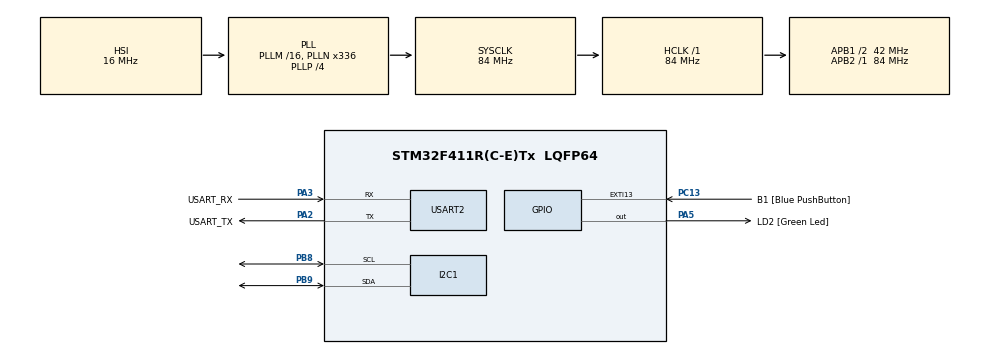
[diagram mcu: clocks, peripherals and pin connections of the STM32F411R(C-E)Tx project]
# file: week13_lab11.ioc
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I2C1.I2C_Mode=I2C_Fast
Mcu.Family=STM32F4
Mcu.Name=STM32F411R(C-E)Tx
Mcu.Package=LQFP64
NVIC.I2C1_ER_IRQn=true\:0\:0\:false\:false\:true\:true\:true
NVIC.I2C1_EV_IRQn=true\:0\:0\:false\:false\:true\:true\:true
NVIC.PriorityGroup=NVIC_PRIORITYGROUP_0
PA13.GPIO_Label=TMS
PA13.Mode=Serial_Wire
PA13.Signal=SYS_JTMS-SWDIO
PA14.GPIO_Label=TCK
PA14.Mode=Serial_Wire
PA14.Signal=SYS_JTCK-SWCLK
PA2.GPIO_Label=USART_TX
PA2.Mode=Asynchronous
PA2.Signal=USART2_TX
PA3.GPIO_Label=USART_RX
PA3.Mode=Asynchronous
PA3.Signal=USART2_RX
PA5.GPIO_Label=LD2 [Green Led]
PA5.Signal=GPIO_Output
PB3.GPIO_Label=SWO
PB3.Signal=SYS_JTDO-SWO
PB8.Mode=I2C
PB8.Signal=I2C1_SCL
PB9.Mode=I2C
PB9.Signal=I2C1_SDA
PC13-ANTI_TAMP.GPIO_Label=B1 [Blue PushButton]
PC13-ANTI_TAMP.GPIO_ModeDefaultEXTI=GPIO_MODE_IT_FALLING
PC13-ANTI_TAMP.Signal=GPXTI13
PC14-OSC32_IN.Mode=LSE-External-Oscillator
PC14-OSC32_IN.Signal=RCC_OSC32_IN
PC15-OSC32_OUT.Mode=LSE-External-Oscillator
PC15-OSC32_OUT.Signal=RCC_OSC32_OUT
PH0\ -\ OSC_IN.Mode=HSE-External-Clock-Source
PH0\ -\ OSC_IN.Signal=RCC_OSC_IN
PH1\ -\ OSC_OUT.Mode=HSE-External-Clock-Source
PH1\ -\ OSC_OUT.Signal=RCC_OSC_OUT
ProjectManager.HeapSize=0x200
ProjectManager.StackSize=0x400
ProjectManager.TargetToolchain=STM32CubeIDE
RCC.48MHZClocksFreq_Value=84000000
RCC.AHBFreq_Value=84000000
RCC.APB1CLKDivider=RCC_HCLK_DIV2
RCC.APB1Freq_Value=42000000
RCC.APB1TimFreq_Value=84000000
RCC.APB2Freq_Value=84000000
RCC.APB2TimFreq_Value=84000000
RCC.CortexFreq_Value=84000000
RCC.FLatency-AdvancedSettings=FLASH_LATENCY_2
RCC.HCLKFreq_Value=84000000
RCC.HSE_VALUE=8000000
RCC.HSI_VALUE=16000000
RCC.PLLN=336
RCC.PLLP=RCC_PLLP_DIV4
RCC.SYSCLKFreq_VALUE=84000000
RCC.SYSCLKSource=RCC_SYSCLKSOURCE_PLLCLK
RCC.VCOOutputFreq_Value=336000000
USART2.VirtualMode=VM_ASYNC
board=NUCLEO-F411RE

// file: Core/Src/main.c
/* USER CODE BEGIN Header */
/**
 ******************************************************************************
 * @file           : main.c
 * @brief          : Main program body
 ******************************************************************************
 * @attention
 *
 * <h2><center>&copy; Copyright (c) 2021 STMicroelectronics.
 * All rights reserved.</center></h2>
 *
 * This software component is licensed by ST under BSD 3-Clause license,
 * the "License"; You may not use this file except in compliance with the
 * License. You may obtain a copy of the License at:
 *                        opensource.org/licenses/BSD-3-Clause
 *
 ******************************************************************************
 */
/* USER CODE END Header */
#include "main.h"

/* USER CODE BEGIN PD */
#define EEPROM_ADDR 0b10100000
#define IOEXPD_ADDR 0b01000000
/* USER CODE END PD */

I2C_HandleTypeDef hi2c1;

UART_HandleTypeDef huart2;

/* USER CODE BEGIN PV */
uint8_t eepromExampleWriteFlag = 0;
uint8_t eepromExampleReadFlag = 0;
uint8_t IOExpdrExampleWriteFlag = 0;
uint8_t IOExpdrExampleReadFlag = 0;
uint8_t eepromDataReadBack[4];
uint8_t IOExpdrDataReadBack;
uint8_t IOExpdrDataWrite = 0b0;

uint8_t sclk[2] = {0};
uint8_t test =0;
uint8_t edata[4] = {0};
/* USER CODE END PV */

void SystemClock_Config(void);
static void MX_GPIO_Init(void);
static void MX_USART2_UART_Init(void);
static void MX_I2C1_Init(void);
/* USER CODE BEGIN PFP */
//void EEPROMWriteExample(uint8_t edata);
void EEPROMWriteExample();
void EEPROMReadExample(uint8_t *Rdata, uint16_t len);

void IOExpenderInit();
void IOExpenderReadPinA(uint8_t *Rdata);
void IOExpenderWritePinB(uint8_t Wdata);

/* USER CODE END PFP */

int main(void)
{

  /* MCU Configuration--------------------------------------------------------*/

  /* Reset of all peripherals, Initializes the Flash interface and the Systick. */
  HAL_Init();

  /* Configure the system clock */
  SystemClock_Config();

  /* Initialize all configured peripherals */
  MX_GPIO_Init();
  MX_USART2_UART_Init();
  MX_I2C1_Init();
  /* USER CODE BEGIN 2 */
  HAL_Delay(100);
  IOExpenderInit();
  /* USER CODE END 2 */

  /* Infinite loop */
  /* USER CODE BEGIN WHILE */
	while (1)
	{
		sclk[0] = HAL_GPIO_ReadPin(GPIOC, GPIO_PIN_13);
		if(sclk[0] == 0 && sclk[1] == 1)
		{
			IOExpdrExampleReadFlag = 1;
			eepromExampleWriteFlag = 1;
			eepromExampleReadFlag = 1;
			IOExpdrExampleWriteFlag = 1;

			//IOExpdrExampleReadFlag = 1;
			IOExpenderReadPinA(&IOExpdrDataReadBack);
			HAL_Delay(10);

			edata[0] = 0b001 & (IOExpdrDataReadBack>>0);
			edata[1] = 0b001 & (IOExpdrDataReadBack>>1);
			edata[2] = 0b001 & (IOExpdrDataReadBack>>2);
			edata[3] = 0b001 & (IOExpdrDataReadBack>>3);
			//eepromExampleWriteFlag = 1;
			EEPROMWriteExample();
			HAL_Delay(10);

			test = 1;
		}
		else
		{
			test = 0;
		}
		sclk[1] = sclk[0];

		eepromExampleReadFlag = 1;
		EEPROMReadExample(eepromDataReadBack, 4);
		HAL_Delay(10);

		IOExpdrDataWrite = (eepromDataReadBack[3]<<3) + (eepromDataReadBack[2]<<2) +
						   (eepromDataReadBack[1]<<1) + (eepromDataReadBack[0]<<0) ;
		IOExpdrExampleWriteFlag = 1;
		IOExpenderWritePinB(IOExpdrDataWrite);
		HAL_Delay(10);

//					//IOExpdrExampleReadFlag = 1;
//					IOExpenderReadPinA(&IOExpdrDataReadBack);
//
//					//eepromExampleWriteFlag = 1;
//					for(int j=0;j<=3;j++)
//					{
//						edata[j] = 0b001 & (IOExpdrDataReadBack>>j);
//					}
//					EEPROMWriteExample();
//
//					//eepromExampleReadFlag = 1;
//					EEPROMReadExample(eepromDataReadBack, 4);
//					IOExpdrDataWrite = (eepromDataReadBack[3]<<3) + (eepromDataReadBack[2]<<2) +
//									   (eepromDataReadBack[1]<<1) + (eepromDataReadBack[0]<<0) ;
//
//					//IOExpdrExampleWriteFlag = 1;
//					IOExpenderWritePinB(IOExpdrDataWrite);

    /* USER CODE END WHILE */

	}
}

void SystemClock_Config(void)
{
  RCC_OscInitTypeDef RCC_OscInitStruct = {0};
  RCC_ClkInitTypeDef RCC_ClkInitStruct = {0};

  /** Configure the main internal regulator output voltage
  */
  __HAL_RCC_PWR_CLK_ENABLE();
  __HAL_PWR_VOLTAGESCALING_CONFIG(PWR_REGULATOR_VOLTAGE_SCALE1);
  /** Initializes the RCC Oscillators according to the specified parameters
  * in the RCC_OscInitTypeDef structure.
  */
  RCC_OscInitStruct.OscillatorType = RCC_OSCILLATORTYPE_HSI;
  RCC_OscInitStruct.HSIState = RCC_HSI_ON;
  RCC_OscInitStruct.HSICalibrationValue = RCC_HSICALIBRATION_DEFAULT;
  RCC_OscInitStruct.PLL.PLLState = RCC_PLL_ON;
  RCC_OscInitStruct.PLL.PLLSource = RCC_PLLSOURCE_HSI;
  RCC_OscInitStruct.PLL.PLLM = 16;
  RCC_OscInitStruct.PLL.PLLN = 336;
  RCC_OscInitStruct.PLL.PLLP = RCC_PLLP_DIV4;
  RCC_OscInitStruct.PLL.PLLQ = 4;
  if (HAL_RCC_OscConfig(&RCC_OscInitStruct) != HAL_OK)
  {
    Error_Handler();
  }
  /** Initializes the CPU, AHB and APB buses clocks
  */
  RCC_ClkInitStruct.ClockType = RCC_CLOCKTYPE_HCLK|RCC_CLOCKTYPE_SYSCLK
                              |RCC_CLOCKTYPE_PCLK1|RCC_CLOCKTYPE_PCLK2;
  RCC_ClkInitStruct.SYSCLKSource = RCC_SYSCLKSOURCE_PLLCLK;
  RCC_ClkInitStruct.AHBCLKDivider = RCC_SYSCLK_DIV1;
  RCC_ClkInitStruct.APB1CLKDivider = RCC_HCLK_DIV2;
  RCC_ClkInitStruct.APB2CLKDivider = RCC_HCLK_DIV1;

  if (HAL_RCC_ClockConfig(&RCC_ClkInitStruct, FLASH_LATENCY_2) != HAL_OK)
  {
    Error_Handler();
  }
}

static void MX_I2C1_Init(void)
{

  hi2c1.Instance = I2C1;
  hi2c1.Init.ClockSpeed = 400000;
  hi2c1.Init.DutyCycle = I2C_DUTYCYCLE_2;
  hi2c1.Init.OwnAddress1 = 0;
  hi2c1.Init.AddressingMode = I2C_ADDRESSINGMODE_7BIT;
  hi2c1.Init.DualAddressMode = I2C_DUALADDRESS_DISABLE;
  hi2c1.Init.OwnAddress2 = 0;
  hi2c1.Init.GeneralCallMode = I2C_GENERALCALL_DISABLE;
  hi2c1.Init.NoStretchMode = I2C_NOSTRETCH_DISABLE;
  if (HAL_I2C_Init(&hi2c1) != HAL_OK)
  {
    Error_Handler();
  }

}

static void MX_USART2_UART_Init(void)
{

  huart2.Instance = USART2;
  huart2.Init.BaudRate = 115200;
  huart2.Init.WordLength = UART_WORDLENGTH_8B;
  huart2.Init.StopBits = UART_STOPBITS_1;
  huart2.Init.Parity = UART_PARITY_NONE;
  huart2.Init.Mode = UART_MODE_TX_RX;
  huart2.Init.HwFlowCtl = UART_HWCONTROL_NONE;
  huart2.Init.OverSampling = UART_OVERSAMPLING_16;
  if (HAL_UART_Init(&huart2) != HAL_OK)
  {
    Error_Handler();
  }

}

static void MX_GPIO_Init(void)
{
  GPIO_InitTypeDef GPIO_InitStruct = {0};

  /* GPIO Ports Clock Enable */
  __HAL_RCC_GPIOC_CLK_ENABLE();
  __HAL_RCC_GPIOH_CLK_ENABLE();
  __HAL_RCC_GPIOA_CLK_ENABLE();
  __HAL_RCC_GPIOB_CLK_ENABLE();

  /*Configure GPIO pin Output Level */
  HAL_GPIO_WritePin(LD2_GPIO_Port, LD2_Pin, GPIO_PIN_RESET);

  /*Configure GPIO pin : B1_Pin */
  GPIO_InitStruct.Pin = B1_Pin;
  GPIO_InitStruct.Mode = GPIO_MODE_IT_FALLING;
  GPIO_InitStruct.Pull = GPIO_NOPULL;
  HAL_GPIO_Init(B1_GPIO_Port, &GPIO_InitStruct);

  /*Configure GPIO pin : LD2_Pin */
  GPIO_InitStruct.Pin = LD2_Pin;
  GPIO_InitStruct.Mode = GPIO_MODE_OUTPUT_PP;
  GPIO_InitStruct.Pull = GPIO_NOPULL;
  GPIO_InitStruct.Speed = GPIO_SPEED_FREQ_LOW;
  HAL_GPIO_Init(LD2_GPIO_Port, &GPIO_InitStruct);

}

/* USER CODE BEGIN 4 */
void EEPROMWriteExample()
{
	if (eepromExampleWriteFlag && hi2c1.State == HAL_I2C_STATE_READY)
	{
		static uint8_t data[4] = {0};
		for(int i=0;i<=3;i++)
		{
			data[i] = edata[i];
		}
		HAL_I2C_Mem_Write_IT(&hi2c1, EEPROM_ADDR, 0x53, I2C_MEMADD_SIZE_16BIT,data, 4);

		eepromExampleWriteFlag = 0;
	}
}
void EEPROMReadExample(uint8_t *Rdata, uint16_t len)
{
	if (eepromExampleReadFlag && hi2c1.State == HAL_I2C_STATE_READY)
	{

		HAL_I2C_Mem_Read_IT(&hi2c1, EEPROM_ADDR, 0x53, I2C_MEMADD_SIZE_16BIT,Rdata, len);
		eepromExampleReadFlag = 0;
	}
}
void IOExpenderInit()
{
	//Init All
	static uint8_t Setting[0x16] = { 0xFF, 0x00, 0x00, 0x00, 0x00, 0x00, 0x00,
			0x00, 0x00, 0x00, 0x00, 0x00, 0xFF, 0x00, 0x00, 0x00, 0x00, 0x00,
			0x00, 0x00, 0x00, 0x00 };
	HAL_I2C_Mem_Write(&hi2c1, IOEXPD_ADDR, 0x00, I2C_MEMADD_SIZE_8BIT, Setting,
			0x16, 100);
}
void IOExpenderReadPinA(uint8_t *Rdata)
{
	if (IOExpdrExampleReadFlag && hi2c1.State == HAL_I2C_STATE_READY)
	{
		HAL_I2C_Mem_Read_IT(&hi2c1, IOEXPD_ADDR, 0x12, I2C_MEMADD_SIZE_8BIT,Rdata, 1);
		IOExpdrExampleReadFlag =0;
	}
}
void IOExpenderWritePinB(uint8_t Wdata)
{
	if (IOExpdrExampleWriteFlag && hi2c1.State == HAL_I2C_STATE_READY)
	{
		static uint8_t data;
		data = Wdata;
		HAL_I2C_Mem_Write_IT(&hi2c1, IOEXPD_ADDR, 0x15, I2C_MEMADD_SIZE_8BIT,&data, 1);
		IOExpdrExampleWriteFlag=0;
	}
}
/* USER CODE END 4 */

void Error_Handler(void)
{
	__disable_irq();
	while (1) {
	}
}

/************************ (C) COPYRIGHT STMicroelectronics *****END OF FILE****/
